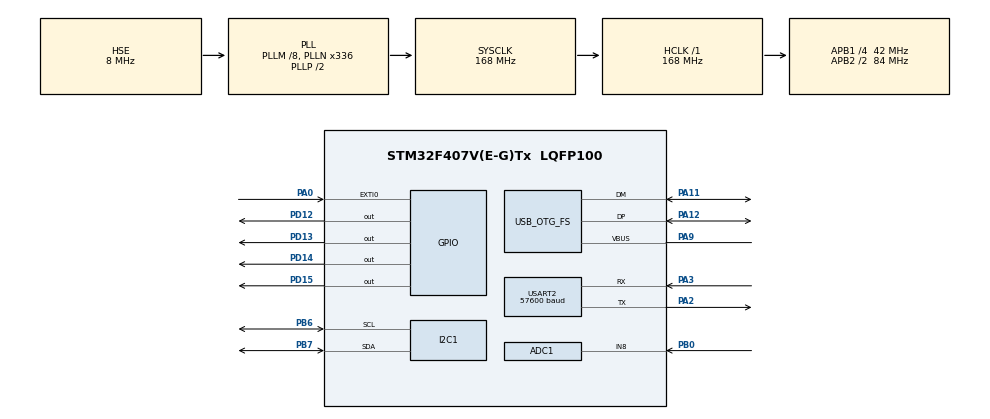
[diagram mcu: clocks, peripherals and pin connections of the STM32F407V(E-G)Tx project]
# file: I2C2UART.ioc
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ADC1.Channel-1\#ChannelRegularConversion=ADC_CHANNEL_8
ADC1.ContinuousConvMode=ENABLE
ADC1.DMAContinuousRequests=ENABLE
ADC1.EOCSelection=ADC_EOC_SEQ_CONV
ADC1.NbrOfConversionFlag=1
ADC1.Rank-1\#ChannelRegularConversion=1
ADC1.SamplingTime-1\#ChannelRegularConversion=ADC_SAMPLETIME_3CYCLES
ADC1.ScanConvMode=ENABLE
ADC1.master=1
Dma.ADC1.0.Direction=DMA_PERIPH_TO_MEMORY
Dma.ADC1.0.FIFOMode=DMA_FIFOMODE_ENABLE
Dma.ADC1.0.FIFOThreshold=DMA_FIFO_THRESHOLD_FULL
Dma.ADC1.0.Instance=DMA2_Stream0
Dma.ADC1.0.MemBurst=DMA_MBURST_SINGLE
Dma.ADC1.0.MemDataAlignment=DMA_MDATAALIGN_WORD
Dma.ADC1.0.MemInc=DMA_MINC_ENABLE
Dma.ADC1.0.Mode=DMA_CIRCULAR
Dma.ADC1.0.PeriphBurst=DMA_PBURST_SINGLE
Dma.ADC1.0.PeriphDataAlignment=DMA_PDATAALIGN_WORD
Dma.ADC1.0.PeriphInc=DMA_PINC_DISABLE
Dma.ADC1.0.Priority=DMA_PRIORITY_LOW
Dma.Request0=ADC1
Mcu.Family=STM32F4
Mcu.Name=STM32F407V(E-G)Tx
Mcu.Package=LQFP100
NVIC.DMA2_Stream0_IRQn=true\:0\:0\:false\:false\:true\:false\:true
NVIC.EXTI0_IRQn=true\:1\:0\:true\:false\:true\:true\:true
NVIC.OTG_FS_IRQn=true\:0\:0\:false\:false\:true\:false\:true
NVIC.PriorityGroup=NVIC_PRIORITYGROUP_2
NVIC.USART2_IRQn=true\:1\:1\:true\:false\:true\:true\:true
PA0-WKUP.Signal=GPXTI0
PA11.Mode=Device_Only
PA11.Signal=USB_OTG_FS_DM
PA12.Mode=Device_Only
PA12.Signal=USB_OTG_FS_DP
PA2.Mode=Asynchronous
PA2.Signal=USART2_TX
PA3.Mode=Asynchronous
PA3.Signal=USART2_RX
PA9.Mode=Activate_VBUS
PA9.Signal=USB_OTG_FS_VBUS
PB0.Signal=ADCx_IN8
PB6.Mode=I2C
PB6.Signal=I2C1_SCL
PB7.Mode=I2C
PB7.Signal=I2C1_SDA
PD12.Signal=GPIO_Output
PD13.Signal=GPIO_Output
PD14.Signal=GPIO_Output
PD15.Signal=GPIO_Output
PH0-OSC_IN.Mode=HSE-External-Oscillator
PH0-OSC_IN.Signal=RCC_OSC_IN
PH1-OSC_OUT.Mode=HSE-External-Oscillator
PH1-OSC_OUT.Signal=RCC_OSC_OUT
ProjectManager.HeapSize=0x2000
ProjectManager.StackSize=0x4000
ProjectManager.TargetToolchain=MDK-ARM V5
RCC.48MHZClocksFreq_Value=48000000
RCC.AHBFreq_Value=168000000
RCC.APB1CLKDivider=RCC_HCLK_DIV4
RCC.APB1Freq_Value=42000000
RCC.APB1TimFreq_Value=84000000
RCC.APB2CLKDivider=RCC_HCLK_DIV2
RCC.APB2Freq_Value=84000000
RCC.APB2TimFreq_Value=168000000
RCC.CortexFreq_Value=168000000
RCC.HCLKFreq_Value=168000000
RCC.HSE_VALUE=8000000
RCC.HSI_VALUE=16000000
RCC.LSE_VALUE=32768
RCC.PLLM=8
RCC.PLLN=336
RCC.PLLQ=7
RCC.SYSCLKFreq_VALUE=168000000
RCC.SYSCLKSource=RCC_SYSCLKSOURCE_PLLCLK
RCC.VCOOutputFreq_Value=336000000
SH.ADCx_IN8.0=ADC1_IN8,IN8
USART2.BaudRate=57600
USART2.VirtualMode=VM_ASYNC
USB_DEVICE.CLASS_NAME_FS=CDC
USB_DEVICE.VirtualMode-CDC_FS=Cdc
USB_DEVICE.VirtualModeFS=Cdc_FS
USB_OTG_FS.VirtualMode=Device_Only
VP_USB_DEVICE_VS_USB_DEVICE_CDC_FS.Mode=CDC_FS
board=custom

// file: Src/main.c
/* USER CODE BEGIN Header */
/**
  ******************************************************************************
  * @file           : main.c
  * @brief          : Main program body
  ******************************************************************************
  * @attention
  *
  * <h2><center>&copy; Copyright (c) 2019 STMicroelectronics.
  * All rights reserved.</center></h2>
  *
  * This software component is licensed by ST under BSD 3-Clause license,
  * the "License"; You may not use this file except in compliance with the
  * License. You may obtain a copy of the License at:
  *                        opensource.org/licenses/BSD-3-Clause
  *
  ******************************************************************************
  */
/* USER CODE END Header */

#include "main.h"
#include "adc.h"
#include "dma.h"
#include "i2c.h"
#include "usart.h"
#include "usb_device.h"
#include "gpio.h"

/* USER CODE BEGIN Includes */
#include "stdio.h"
#ifdef _GNUC_
#define PUTCHAR_PROTOTYPE int __to_putchar(int ch)
	#else
#define PUTCHAR_PROTOTYPE int fputc(int ch, FILE *f)
	#endif
#include "string.h"
#include "math.h"
#include "usbd_cdc_if.h"
//#include "ESP-01_STM32.h"
//#include "MQTTPacket.h"
/* USER CODE END Includes */

/* USER CODE BEGIN PTD */
typedef union
{
  struct
  {
    unsigned char x_accel_h;
    unsigned char x_accel_l;
    unsigned char y_accel_h;
    unsigned char y_accel_l;
    unsigned char z_accel_h;
    unsigned char z_accel_l;
    unsigned char t_h;
    unsigned char t_l;
    unsigned char x_gyro_h;
    unsigned char x_gyro_l;
    unsigned char y_gyro_h;
    unsigned char y_gyro_l;
    unsigned char z_gyro_h;
    unsigned char z_gyro_l;
  } reg;
  struct
  {
    int16_t x_accel;
    int16_t y_accel;
    int16_t z_accel;
    int16_t temperature;
    int16_t x_gyro;
    int16_t y_gyro;
    int16_t z_gyro;
  } value;
}accel_t_gyro_union;
/* USER CODE END PTD */

/* USER CODE BEGIN PV */
//for Wifi
//char Rx[20];
//char ate[] = "ATE0\r\n";
//char at[] = "AT\r\n";
//uint32_t count = 1;

//MQTTString topicString;

int sensor_list[SENSOR_NUM] = {1,2,3,5};
uint32_t adc_val[WEIGHT_NUM], buffer[WEIGHT_NUM];

// Use the following global variables and access functions to help store the overall
// rotation angle of the sensor
uint32_t last_read_time[8];
float         last_x_angle[8];  // These are the filtered angles
float         last_y_angle[8];
float         last_z_angle[8];
float         last_gyro_x_angle[8];  // Store the gyro angles to compare drift
float         last_gyro_y_angle[8];
float         last_gyro_z_angle[8];

//  Use the following global variables and access functions
//  to calibrate the acceleration sensor
float    base_x_accel[8];
float    base_y_accel[8];
float    base_z_accel[8];

float    base_x_gyro[8];
float    base_y_gyro[8];
float    base_z_gyro[8];
/* USER CODE END PV */

void SystemClock_Config(void);

/* USER CODE BEGIN 0 */

//for Wifi
void HAL_UART_RxHalfCpltCallback(UART_HandleTypeDef *huart)
{
	//printf("DMA: ");
	//printf("%s\n",Rx);
}
void HAL_ADC_ConvHalfCpltCallback(ADC_HandleTypeDef* hadc)
{
	HAL_GPIO_WritePin(GPIOD,GPIO_PIN_12,GPIO_PIN_RESET);
	HAL_GPIO_WritePin(GPIOD,GPIO_PIN_13,GPIO_PIN_RESET);
	HAL_GPIO_WritePin(GPIOD,GPIO_PIN_14,GPIO_PIN_RESET);
	HAL_GPIO_WritePin(GPIOD,GPIO_PIN_15,GPIO_PIN_RESET);

}
void HAL_ADC_ConvCpltCallback(ADC_HandleTypeDef* hadc)
{
	HAL_GPIO_WritePin(GPIOD,GPIO_PIN_12,GPIO_PIN_SET);
	HAL_GPIO_WritePin(GPIOD,GPIO_PIN_13,GPIO_PIN_SET);
	HAL_GPIO_WritePin(GPIOD,GPIO_PIN_14,GPIO_PIN_SET);
	HAL_GPIO_WritePin(GPIOD,GPIO_PIN_15,GPIO_PIN_SET);
	for (int i =0; i<WEIGHT_NUM; i++)
	{
	  adc_val[i] = buffer[i];
	}
}

int MPU6050_read(unsigned char start, unsigned char *pData, int size)
{
  int i, n, error;

	unsigned char *MPU6050write = &start;
	HAL_I2C_Master_Transmit(&hi2c1, MPU6050_I2C_ADDRESS<<1, MPU6050write, 1, 1000);
	HAL_Delay(20);
	HAL_I2C_Master_Receive(&hi2c1, MPU6050_I2C_ADDRESS<<1, pData, size, 1000);
  return (0);  // return : no error
}

int MPU6050_write(unsigned char start, unsigned char *pData, int size)
{
  unsigned char temp[5];
	//out of code limit and mpu6050 seem to have only to control with 1 byte data
	if(size > 5) return -2;
	temp[0] = start;
	int i;
	for(i = 0; i < size;i++){
		temp[i+1] = *(pData+i);
	}
	size++;
	HAL_I2C_Master_Transmit(&hi2c1, MPU6050_I2C_ADDRESS<<1, temp, size, 1000);
  return (0);         // return : no error
}

int MPU6050_write_reg(int reg, unsigned char data)
{
  int error;

  error = MPU6050_write(reg, &data, 1);

  return (error);
}

void set_last_read_angle_data(uint32_t time, float x, float y, float z, float x_gyro, float y_gyro, float z_gyro, uint8_t index) {
  last_read_time[index] = time;
  last_x_angle[index] = x;
  last_y_angle[index] = y;
  last_z_angle[index] = z;
  last_gyro_x_angle[index] = x_gyro;
  last_gyro_y_angle[index] = y_gyro;
  last_gyro_z_angle[index] = z_gyro;
}

inline uint32_t get_last_time(uint8_t index) {return last_read_time[index];}
inline float get_last_x_angle(uint8_t index) {return last_x_angle[index];}
inline float get_last_y_angle(uint8_t index) {return last_y_angle[index];}
inline float get_last_z_angle(uint8_t index) {return last_z_angle[index];}
inline float get_last_gyro_x_angle(uint8_t index) {return last_gyro_x_angle[index];}
inline float get_last_gyro_y_angle(uint8_t index) {return last_gyro_y_angle[index];}
inline float get_last_gyro_z_angle(uint8_t index) {return last_gyro_z_angle[index];}

int read_gyro_accel_vals(unsigned char* accel_t_gyro_ptr) {
  accel_t_gyro_union* accel_t_gyro = (accel_t_gyro_union *)accel_t_gyro_ptr;

  int error = MPU6050_read(MPU6050_ACCEL_XOUT_H, (unsigned char *)accel_t_gyro, sizeof(*accel_t_gyro));

  unsigned char swap;
  #define SWAP(x,y) swap = x; x = y; y = swap

  SWAP ((*accel_t_gyro).reg.x_accel_h, (*accel_t_gyro).reg.x_accel_l);
  SWAP ((*accel_t_gyro).reg.y_accel_h, (*accel_t_gyro).reg.y_accel_l);
  SWAP ((*accel_t_gyro).reg.z_accel_h, (*accel_t_gyro).reg.z_accel_l);
  SWAP ((*accel_t_gyro).reg.t_h, (*accel_t_gyro).reg.t_l);
  SWAP ((*accel_t_gyro).reg.x_gyro_h, (*accel_t_gyro).reg.x_gyro_l);
  SWAP ((*accel_t_gyro).reg.y_gyro_h, (*accel_t_gyro).reg.y_gyro_l);
  SWAP ((*accel_t_gyro).reg.z_gyro_h, (*accel_t_gyro).reg.z_gyro_l);

  return error;
}

// The sensor should be motionless on a horizontal surface
//  while calibration is happening
void selectI2CChannels(uint8_t i) {
	if (i > 7) return;
	unsigned char temp[1];
	temp[0] = 1 << i;
	//0x70 is address
	HAL_I2C_Master_Transmit(&hi2c1, 0x70<<1, temp, 1, 100);
}
/*
//for Wifi
void SendMQTT(char* payload){
	// Variable for Packect.
	unsigned char buf[200];
	// Length of buf.
	int buflen = sizeof(buf);
	// Set Name TOPIC
	topicString.cstring ="Test";
	int payloadlen = strlen(payload);
	// Create Packet to PUBLISH!
	int lenB = MQTTSerialize_publish(buf, buflen, 0, 0, 0, 0, topicString, (unsigned char*)payload, payloadlen);
	// Send PUBLISH to...Server.
	uint8_t check1 = sendData(buf, lenB);
	// CLEAR RX
	Rx[0] = 0;
}*/

void calibrate_sensors(uint8_t index) {

	selectI2CChannels(index);
	int                   num_readings = 10;
	float                 x_accel = 0;
	float                 y_accel = 0;
	float                 z_accel = 0;
	float                 x_gyro = 0;
	float                 y_gyro = 0;
	float                 z_gyro = 0;
	accel_t_gyro_union    accel_t_gyro;
	unsigned char c;
	int error;
	int16_t reading;

	//for USB
	printf("Starting Calibration :%d\n",index);

	//for Wifi
	//char payload[150];
	//sprintf(payload,"Starting Calibration :%d\n",index);
	//SendMQTT(payload);

	read_gyro_accel_vals((unsigned char *) &accel_t_gyro);

	for (int i = 0; i < num_readings; i++) {
		read_gyro_accel_vals((unsigned char *) &accel_t_gyro);
		x_accel += accel_t_gyro.value.x_accel;
		y_accel += accel_t_gyro.value.y_accel;
		z_accel += accel_t_gyro.value.z_accel;
		x_gyro += accel_t_gyro.value.x_gyro;
		y_gyro += accel_t_gyro.value.y_gyro;
		z_gyro += accel_t_gyro.value.z_gyro;
		HAL_Delay(100);
	}
	x_accel /= num_readings;
	y_accel /= num_readings;
	z_accel /= num_readings;
	x_gyro /= num_readings;
	y_gyro /= num_readings;
	z_gyro /= num_readings;

	// Store the raw calibration values globally
	base_x_accel[index] = x_accel;
	base_y_accel[index] = y_accel;
	base_z_accel[index] = z_accel;
	base_x_gyro[index] = x_gyro;
	base_y_gyro[index] = y_gyro;
	base_z_gyro[index] = z_gyro;

	//for USB
	printf("Finishing Calibration :%d\n", index);
	//for Wifi
	//sprintf(payload,"Finishing Calibration :%d\n", index);
	//SendMQTT(payload);
}

/* USER CODE END 0 */

int main(void)
{

  /* MCU Configuration--------------------------------------------------------*/

  /* Reset of all peripherals, Initializes the Flash interface and the Systick. */
  HAL_Init();

  /* Configure the system clock */
  SystemClock_Config();

  /* Initialize all configured peripherals */
  MX_GPIO_Init();
  MX_DMA_Init();
  MX_I2C1_Init();
  MX_USART2_UART_Init();
  MX_USB_DEVICE_Init();
  MX_ADC1_Init();
  /* USER CODE BEGIN 2 */
	//HAL_ADC_Start(&hadc1);
	HAL_ADC_Start_DMA(&hadc1, buffer, WEIGHT_NUM);
	/*
	//for Wifi
	HAL_GPIO_WritePin(GPIOD,GPIO_PIN_12,GPIO_PIN_RESET);
	HAL_GPIO_WritePin(GPIOD,GPIO_PIN_13,GPIO_PIN_RESET);
	HAL_GPIO_WritePin(GPIOD,GPIO_PIN_14,GPIO_PIN_RESET);
	HAL_GPIO_WritePin(GPIOD,GPIO_PIN_15,GPIO_PIN_RESET);
	// INIT ESP-01
	while(!(initESP01(&huart2))) {
		HAL_GPIO_WritePin(GPIOD,GPIO_PIN_12,GPIO_PIN_RESET);
		HAL_GPIO_WritePin(GPIOD,GPIO_PIN_13,GPIO_PIN_RESET);
		HAL_GPIO_WritePin(GPIOD,GPIO_PIN_14,GPIO_PIN_RESET);
		HAL_GPIO_TogglePin(GPIOD,GPIO_PIN_15);
		HAL_Delay(100);
	}
	// CLEAR RX
	Rx[0] = 0;
		HAL_GPIO_WritePin(GPIOD,GPIO_PIN_12,GPIO_PIN_SET);
		HAL_GPIO_WritePin(GPIOD,GPIO_PIN_13,GPIO_PIN_SET);
		HAL_GPIO_WritePin(GPIOD,GPIO_PIN_14,GPIO_PIN_SET);
		HAL_GPIO_WritePin(GPIOD,GPIO_PIN_15,GPIO_PIN_SET);
	HAL_Delay(500);
	// CONNECT TO ... WIFI!
	while(!(connectWIFI("nm","rtx2080ti"))) {
	//while(!(connectWIFI("huawei2","88888888"))) {
		HAL_GPIO_WritePin(GPIOD,GPIO_PIN_12,GPIO_PIN_RESET);
		HAL_GPIO_WritePin(GPIOD,GPIO_PIN_13,GPIO_PIN_SET);
		HAL_GPIO_WritePin(GPIOD,GPIO_PIN_14,GPIO_PIN_RESET);
		HAL_GPIO_WritePin(GPIOD,GPIO_PIN_15,GPIO_PIN_RESET);
		Rx[0] = 0;
	}
	// CLEAR RX
	Rx[0] = 0;
		HAL_GPIO_WritePin(GPIOD,GPIO_PIN_12,GPIO_PIN_RESET);
		HAL_GPIO_WritePin(GPIOD,GPIO_PIN_13,GPIO_PIN_RESET);
		HAL_GPIO_WritePin(GPIOD,GPIO_PIN_14,GPIO_PIN_SET);
		HAL_GPIO_WritePin(GPIOD,GPIO_PIN_15,GPIO_PIN_RESET);
		HAL_Delay(1500);

	// OPEN TCP CONNECTION!
	while(!(openTCPConnect("tailor.cloudmqtt.com", 16347))){
	//while(!(openTCPConnect("192.168.137.1", 1883))){

		if(!waitForString("ALREAY CONNECT",10,5000))
			break;
		HAL_GPIO_WritePin(GPIOD,GPIO_PIN_12,GPIO_PIN_RESET);
		HAL_GPIO_WritePin(GPIOD,GPIO_PIN_13,GPIO_PIN_RESET);
		HAL_GPIO_WritePin(GPIOD,GPIO_PIN_14,GPIO_PIN_SET);
		HAL_GPIO_WritePin(GPIOD,GPIO_PIN_15,GPIO_PIN_SET);
		Rx[0] = 0;
	}
		HAL_GPIO_WritePin(GPIOD,GPIO_PIN_12,GPIO_PIN_SET);
		HAL_GPIO_WritePin(GPIOD,GPIO_PIN_13,GPIO_PIN_SET);
		HAL_GPIO_WritePin(GPIOD,GPIO_PIN_14,GPIO_PIN_SET);
		HAL_GPIO_WritePin(GPIOD,GPIO_PIN_15,GPIO_PIN_SET);
		HAL_Delay(1000);
	// CLEAR RX
	Rx[0] = 0;

	//MAKE CONNECT!

	// Init Struct to Create Packect.
	MQTTPacket_connectData data = MQTTPacket_connectData_initializer;
	// Variable for Packect.
	unsigned char buf[200];
	// Length of buf.
	int buflen = sizeof(buf);
	// Don't know!
	int msgid = 1;
	int req_qos = 0;
	// Struct for Name of Toppic!
	MQTTString temp_topicString = MQTTString_initializer;
	topicString = temp_topicString;
	// Text For Publish
	char* payload = "HELLO N8NNY!!!!";
	int payloadlen = strlen(payload);
	// Text For Publish

	// Byte of Packet.
	uint16_t lenB = 0;
	// SET INSTRUCTION CONNECT PACKET
	data.clientID.cstring = "me";
	data.keepAliveInterval = 20;
	data.cleansession = 1;
	data.username.cstring = "tizxinbp";
	data.password.cstring = "u813eLQKHMrn";
	// Create Packet to Connect...Server.
	lenB = MQTTSerialize_connect(buf, buflen, &data);
	// Send CONNECT Packet to...Server.
	uint8_t check = sendData(buf, lenB);
	Rx[0] = 0;

	// Set Name TOPIC
	topicString.cstring ="Test";
	payloadlen = strlen(payload);
	// Create Packet to PUBLISH!
	lenB = MQTTSerialize_publish(buf, buflen, 0, 0, 0, 0, topicString, (unsigned char*)payload, payloadlen);
	// Send PUBLISH to...Server.
	uint8_t check1 = sendData(buf, lenB);
	// CLEAR RX
	Rx[0] = 0;
	*/
	unsigned char MPU6050write[1];
	unsigned char MPU6050read[1];
	int16_t reading;
	//UART_string("Start communicate", &huart2);
	//printf("Start communicate\n");

	//setup
	for(int j =0; j< SENSOR_NUM;j++){
		selectI2CChannels(sensor_list[j]);
		unsigned char c;
		int error;
		//int error = MPU6050_read(MPU6050_WHO_AM_I, &c, 1);
		//HAL_Delay(10);
		//reading = c;

		// According to the datasheet, the 'sleep' bit
		// should read a '1'. But I read a '0'.
		// That bit has to be cleared, since the sensor
		// is in sleep mode at power-up. Even if the
		// bit reads '0'.
		error = MPU6050_read(MPU6050_PWR_MGMT_2, &c, 1);
		HAL_Delay(10);
		reading = c;
		//printf("PWR_MGMT_2: %x\n", reading);

		// Clear the 'sleep' bit to start the sensor.
		MPU6050_write_reg(MPU6050_PWR_MGMT_1, 0);
		HAL_Delay(10);

		//Initialize the angles
		calibrate_sensors(sensor_list[j]);
		set_last_read_angle_data(HAL_GetTick(), 0, 0, 0, 0, 0, 0, sensor_list[j]);
	}
  /* USER CODE END 2 */

  /* Infinite loop */
  while (1)
  {

    /* USER CODE BEGIN 3 */

		for(uint8_t index = 0; index < SENSOR_NUM; index++){
			selectI2CChannels(sensor_list[index]);
			int error;
			//for(uint8_t weight_index = 0; weight_index < WEIGHT_NUM;weight_index++){
			//	while(HAL_ADC_PollForConversion(&hadc1,100) != HAL_OK){}
			//	adc_val[weight_index]= HAL_ADC_GetValue(&hadc1);
			//}
			accel_t_gyro_union accel_t_gyro;

			// Read the raw values.
			error = read_gyro_accel_vals((unsigned char*) &accel_t_gyro);

			// Get the time of reading for rotation computations
			uint32_t t_now = HAL_GetTick();

			// Convert gyro values to degrees/sec
			float FS_SEL = 131;

			float gyro_x = (accel_t_gyro.value.x_gyro - base_x_gyro[index])/FS_SEL;
			float gyro_y = (accel_t_gyro.value.y_gyro - base_y_gyro[index])/FS_SEL;
			float gyro_z = (accel_t_gyro.value.z_gyro - base_z_gyro[index])/FS_SEL;

			// Get raw acceleration values
			//float G_CONVERT = 16384;
			float accel_x = accel_t_gyro.value.x_accel;
			float accel_y = accel_t_gyro.value.y_accel;
			float accel_z = accel_t_gyro.value.z_accel;

			// Get angle values from accelerometer
			float RADIANS_TO_DEGREES = 180/3.14159;
			//  float accel_vector_length = sqrt(pow(accel_x,2) + pow(accel_y,2) + pow(accel_z,2));
			float accel_angle_y = atan(-1*accel_x/sqrt(pow(accel_y,2) + pow(accel_z,2)))*RADIANS_TO_DEGREES;
			float accel_angle_x = atan(accel_y/sqrt(pow(accel_x,2) + pow(accel_z,2)))*RADIANS_TO_DEGREES;
			float accel_angle_z = 0;

			// Compute the (filtered) gyro angles
			float dt =(t_now - get_last_time(index))/1000.0;
			float gyro_angle_x = gyro_x*dt + get_last_x_angle(index);
			float gyro_angle_y = gyro_y*dt + get_last_y_angle(index);
			float gyro_angle_z = gyro_z*dt + get_last_z_angle(index);

			// Compute the drifting gyro angles
			float unfiltered_gyro_angle_x = gyro_x*dt + get_last_gyro_x_angle(index);
			float unfiltered_gyro_angle_y = gyro_y*dt + get_last_gyro_y_angle(index);
			float unfiltered_gyro_angle_z = gyro_z*dt + get_last_gyro_z_angle(index);

			// Apply the complementary filter to figure out the change in angle - choice of alpha is
			// estimated now.  Alpha depends on the sampling rate...
			float alpha = 0.96;
			float angle_x = alpha*gyro_angle_x + (1.0 - alpha)*accel_angle_x;
			float angle_y = alpha*gyro_angle_y + (1.0 - alpha)*accel_angle_y;
			float angle_z = gyro_angle_z;  //Accelerometer doesn't give z-angle

			// Update the saved data with the latest values
			set_last_read_angle_data(t_now, angle_x, angle_y, angle_z, unfiltered_gyro_angle_x, unfiltered_gyro_angle_y, unfiltered_gyro_angle_z, index);

			//printf("Index:%d",index);
			//printf("#DEL:%.2f",dt);
			//printf("#FIL:%.2f",angle_x);
			//printf(",%.2f",angle_y);
			//printf(",%.2f\n",angle_z);
			printf("Index:%d#DEL:%.2f#FIL:%.2f,%.2f,%.2f\n", index, dt, angle_x, angle_y, angle_z);
			//for USB
			printf("ADC:%d\n", adc_val[0]);
			//for Wifi
			//char payload[150];
			//sprintf(payload,"Index:%d#DEL:%.2f#FIL:%.2f,%.2f,%.2f", index, dt, angle_x, angle_y, angle_z);
			//sprintf(payload,"Index:%d#DEL:%.2f#FIL:%.2f,%.2f,%.2f", index, dt, accel_angle_x, accel_angle_y, accel_angle_z);
			//SendMQTT(payload);
			/*
			for(int adc_index = 0; adc_index < WEIGHT_NUM; adc_index++){
				sprintf(payload,"Index:%d#ADC:%d",index, adc_val[adc_index]);
			}
			SendMQTT(payload);
			*/
		}
	}
  /* USER CODE END 3 */
}

void SystemClock_Config(void)
{
  RCC_OscInitTypeDef RCC_OscInitStruct = {0};
  RCC_ClkInitTypeDef RCC_ClkInitStruct = {0};

  /** Configure the main internal regulator output voltage
  */
  __HAL_RCC_PWR_CLK_ENABLE();
  __HAL_PWR_VOLTAGESCALING_CONFIG(PWR_REGULATOR_VOLTAGE_SCALE1);
  /** Initializes the CPU, AHB and APB busses clocks
  */
  RCC_OscInitStruct.OscillatorType = RCC_OSCILLATORTYPE_HSE;
  RCC_OscInitStruct.HSEState = RCC_HSE_ON;
  RCC_OscInitStruct.PLL.PLLState = RCC_PLL_ON;
  RCC_OscInitStruct.PLL.PLLSource = RCC_PLLSOURCE_HSE;
  RCC_OscInitStruct.PLL.PLLM = 8;
  RCC_OscInitStruct.PLL.PLLN = 336;
  RCC_OscInitStruct.PLL.PLLP = RCC_PLLP_DIV2;
  RCC_OscInitStruct.PLL.PLLQ = 7;
  if (HAL_RCC_OscConfig(&RCC_OscInitStruct) != HAL_OK)
  {
    Error_Handler();
  }
  /** Initializes the CPU, AHB and APB busses clocks
  */
  RCC_ClkInitStruct.ClockType = RCC_CLOCKTYPE_HCLK|RCC_CLOCKTYPE_SYSCLK
                              |RCC_CLOCKTYPE_PCLK1|RCC_CLOCKTYPE_PCLK2;
  RCC_ClkInitStruct.SYSCLKSource = RCC_SYSCLKSOURCE_PLLCLK;
  RCC_ClkInitStruct.AHBCLKDivider = RCC_SYSCLK_DIV1;
  RCC_ClkInitStruct.APB1CLKDivider = RCC_HCLK_DIV4;
  RCC_ClkInitStruct.APB2CLKDivider = RCC_HCLK_DIV2;

  if (HAL_RCC_ClockConfig(&RCC_ClkInitStruct, FLASH_LATENCY_5) != HAL_OK)
  {
    Error_Handler();
  }
}

/* USER CODE BEGIN 4 */
PUTCHAR_PROTOTYPE
{
	while(!(CDC_Transmit_FS((uint8_t *)&ch, 1)) == USBD_OK);
	return ch;
}
/* USER CODE END 4 */

void Error_Handler(void)
{
}

/************************ (C) COPYRIGHT STMicroelectronics *****END OF FILE****/
